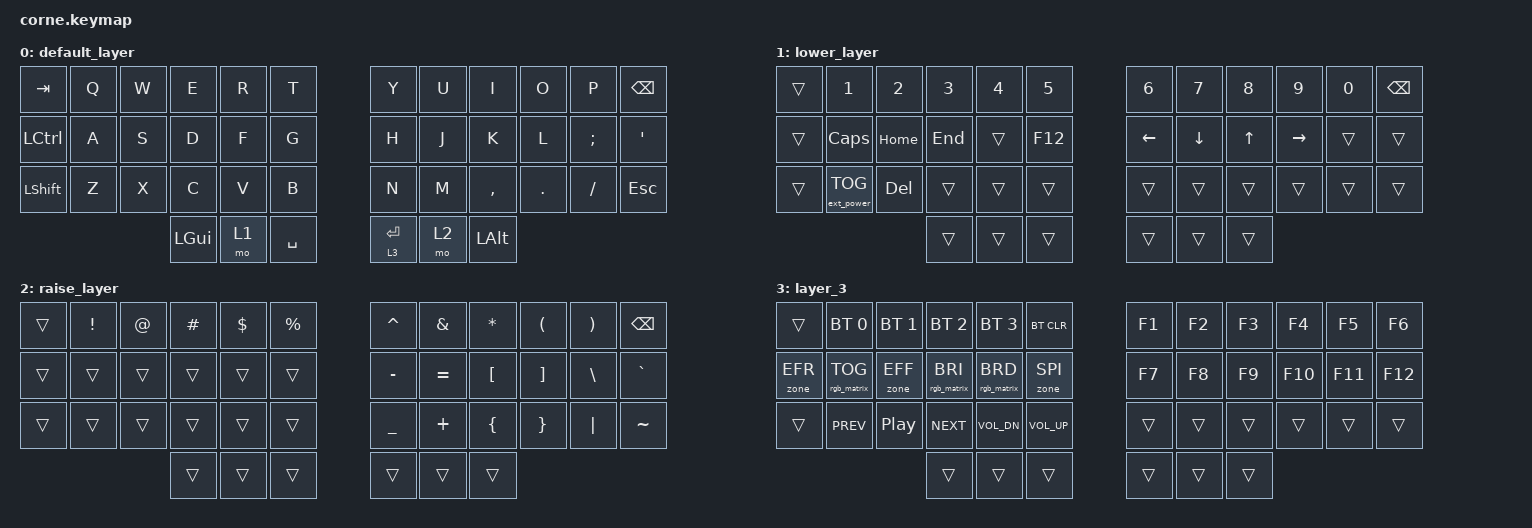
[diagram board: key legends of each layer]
/*
 * Copyright (c) 2020 The ZMK Contributors
 *
 * SPDX-License-Identifier: MIT
 */

#include <behaviors.dtsi>
#include <dt-bindings/zmk/bt.h>
#include <dt-bindings/zmk/ext_power.h>
#include <dt-bindings/zmk/keys.h>
#include <dt-bindings/zmk/rgb.h>

/ {
    behaviors {
        // Layer-tap do Enter: toque digita, segurar ativa a layer 3.
        lt_fast: layer_tap_fast {
            compatible = "zmk,behavior-hold-tap";
            display-name = "LAYER_TAP_FAST";
            #binding-cells = <2>;
            flavor = "balanced";
            tapping-term-ms = <200>;
            // Digitando rápido, vira toque na hora (sem atraso).
            require-prior-idle-ms = <150>;
            // Segurou e soltou sem apertar nada: ainda digita a tecla.
            retro-tap;
            bindings = <&mo>, <&kp>;
        };
    };

    combos {
        compatible = "zmk,combos";

        // layers = <0>: os combos só valem na layer base (como no QMK). Sem isso eles
        // também disparavam nas outras layers (por exemplo, "56" virava "(" nos números).

        left_bkt {
            bindings = <&kp LEFT_BRACKET>;
            key-positions = <4 3>;
            layers = <0>;
            timeout-ms = <50>;
        };

        right_bkt {
            bindings = <&kp RBKT>;
            key-positions = <7 8>;
            layers = <0>;
            timeout-ms = <50>;
        };

        left_par {
            bindings = <&kp LEFT_PARENTHESIS>;
            key-positions = <15 16>;
            layers = <0>;
            timeout-ms = <50>;
        };

        right_par {
            bindings = <&kp RIGHT_PARENTHESIS>;
            key-positions = <19 20>;
            layers = <0>;
            timeout-ms = <50>;
        };

        left_brace {
            bindings = <&kp LEFT_BRACE>;
            key-positions = <27 28>;
            layers = <0>;
            timeout-ms = <50>;
        };

        right_brace {
            bindings = <&kp RIGHT_BRACE>;
            key-positions = <32 31>;
            layers = <0>;
            timeout-ms = <50>;
        };

        bac {
            bindings = <&kp BACKSLASH>;
            key-positions = <5 6>;
            layers = <0>;
        };

        pipe {
            bindings = <&kp PIPE>;
            key-positions = <17 18>;
            layers = <0>;
        };
    };

    keymap {
        compatible = "zmk,keymap";

        default_layer {
            bindings = <
&kp TAB    &kp Q           &kp W           &kp E         &kp R             &kp T        &kp Y        &kp U         &kp I         &kp O            &kp P     &kp BSPC
&kp LCTRL  &kp A  &kp S  &kp D   &kp F  &kp G        &kp H        &kp J  &kp K   &kp L  &kp SEMI  &kp SQT
&kp LSHFT  &kp Z           &kp X           &kp C         &kp V             &kp B        &kp N        &kp M         &kp COMMA     &kp DOT          &kp FSLH  &kp ESC
                                           &kp LEFT_GUI  &mo 1             &kp SPACE  &lt_fast 3 ENTER  &mo 2        &kp LEFT_ALT
            >;
        };

        // Layer 1: números e setas
        lower_layer {
            bindings = <
&trans  &kp N1       &kp N2      &kp N3  &kp N4  &kp N5     &kp N6  &kp N7    &kp N8  &kp N9     &kp N0  &kp BSPC
&trans  &kp CAPS     &kp HOME    &kp END &trans  &kp F12    &kp LEFT &kp DOWN  &kp UP  &kp RIGHT  &trans  &trans
&trans  &ext_power EP_TOG  &kp DELETE  &trans  &trans  &trans     &trans  &trans    &trans  &trans     &trans  &trans
                                 &trans  &trans  &trans     &trans  &trans    &trans
            >;
        };

        // Layer 2: símbolos
        raise_layer {
            bindings = <
&trans  &kp EXCL     &kp AT      &kp HASH &kp DLLR &kp PRCNT  &kp CARET &kp AMPS   &kp STAR   &kp LPAR   &kp RPAR   &kp BSPC
&trans  &trans       &trans      &trans   &trans   &trans     &kp MINUS  &kp EQUAL  &kp LBKT   &kp RBKT   &kp BSLH   &kp GRAVE
&trans  &trans       &trans      &trans   &trans   &trans     &kp UNDER  &kp PLUS   &kp LBRC   &kp RBRC   &kp PIPE   &kp TILDE
                                 &trans   &trans   &trans     &trans     &trans     &trans
            >;
        };

        layer_3 {
            bindings = <
&trans  &bt BT_SEL 0     &bt BT_SEL 1     &bt BT_SEL 2     &bt BT_SEL 3     &bt BT_CLR       &kp F1  &kp F2  &kp F3  &kp F4   &kp F5   &kp F6
&zone RGB_EFR  &rgb_matrix RGB_TOG  &zone RGB_EFF  &rgb_matrix RGB_BRI  &rgb_matrix RGB_BRD  &zone RGB_SPI  &kp F7  &kp F8  &kp F9  &kp F10  &kp F11  &kp F12
&trans  &kp C_PREV       &kp C_PP         &kp C_NEXT       &kp C_VOL_DN     &kp C_VOL_UP     &trans  &trans  &trans  &trans   &trans   &trans
                                          &trans           &trans           &trans           &trans  &trans  &trans
            >;
        };

        extra1 { status = "reserved"; };

        extra2 { status = "reserved"; };

        extra3 { status = "reserved"; };

        extra4 { status = "reserved"; };
    };
};
